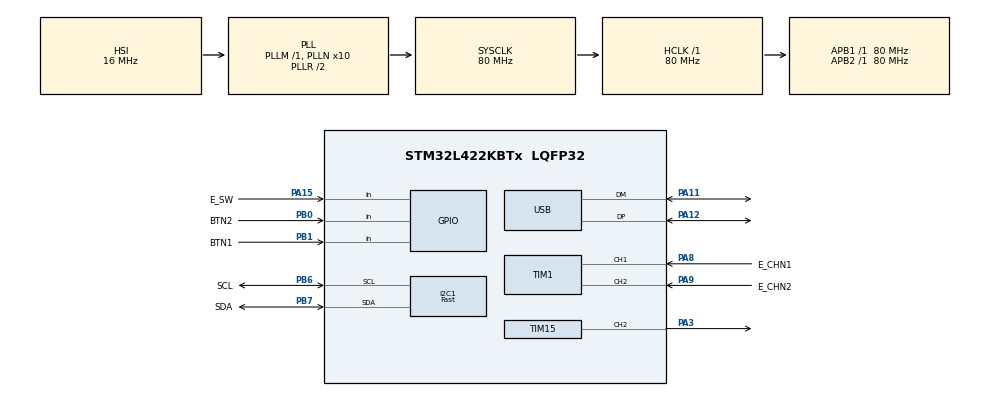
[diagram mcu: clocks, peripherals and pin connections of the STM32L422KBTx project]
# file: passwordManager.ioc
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I2C1.I2C_Speed_Mode=I2C_Fast
I2C1.Timing=0x00702991
Mcu.Family=STM32L4
Mcu.Name=STM32L422KBTx
Mcu.Package=LQFP32
NVIC.PriorityGroup=NVIC_PRIORITYGROUP_4
NVIC.TIM1_UP_TIM16_IRQn=true\:0\:0\:false\:false\:true\:true\:true\:true
NVIC.USB_IRQn=true\:0\:0\:false\:false\:true\:false\:true\:true
PA11.Mode=Device
PA11.Signal=USB_DM
PA12.Mode=Device
PA12.Signal=USB_DP
PA13\ (JTMS/SWDIO).Mode=Trace_Asynchronous_SW
PA13\ (JTMS/SWDIO).Signal=SYS_JTMS-SWDIO
PA14\ (JTCK/SWCLK).Mode=Trace_Asynchronous_SW
PA14\ (JTCK/SWCLK).Signal=SYS_JTCK-SWCLK
PA15\ (JTDI).GPIO_Label=E_SW
PA15\ (JTDI).Signal=GPIO_Input
PA3.Signal=S_TIM15_CH2
PA8.GPIO_Label=E_CHN1
PA8.Signal=S_TIM1_CH1
PA9.GPIO_Label=E_CHN2
PA9.Signal=S_TIM1_CH2
PB0.GPIO_Label=BTN2
PB0.Signal=GPIO_Input
PB1.GPIO_Label=BTN1
PB1.Signal=GPIO_Input
PB3\ (JTDO/TRACESWO).Mode=Trace_Asynchronous_SW
PB3\ (JTDO/TRACESWO).Signal=SYS_JTDO-SWO
PB6.GPIO_Label=SCL
PB6.Mode=I2C
PB6.Signal=I2C1_SCL
PB7.GPIO_Label=SDA
PB7.Mode=I2C
PB7.Signal=I2C1_SDA
ProjectManager.HeapSize=0x200
ProjectManager.StackSize=0x400
ProjectManager.TargetToolchain=Makefile
RCC.ADCFreq_Value=80000000
RCC.AHBFreq_Value=80000000
RCC.APB1Freq_Value=80000000
RCC.APB1TimFreq_Value=80000000
RCC.APB2Freq_Value=80000000
RCC.APB2TimFreq_Value=80000000
RCC.CortexFreq_Value=80000000
RCC.HCLKFreq_Value=80000000
RCC.HSE_VALUE=8000000
RCC.HSI48_VALUE=48000000
RCC.HSI_VALUE=16000000
RCC.LSE_VALUE=32768
RCC.MSIClockRange=RCC_MSIRANGE_11
RCC.MSI_VALUE=48000000
RCC.PLLN=10
RCC.PLLSourceVirtual=RCC_PLLSOURCE_HSI
RCC.SYSCLKFreq_VALUE=80000000
RCC.SYSCLKSource=RCC_SYSCLKSOURCE_PLLCLK
RCC.USBFreq_Value=48000000
RCC.VCOOutputFreq_Value=160000000
SH.S_TIM15_CH2.0=TIM15_CH2,PWM Generation2 CH2
SH.S_TIM1_CH1.0=TIM1_CH1,Encoder_Interface
SH.S_TIM1_CH2.0=TIM1_CH2,Encoder_Interface
TIM1.ClockDivision=TIM_CLOCKDIVISION_DIV1
TIM1.EncoderMode=TIM_ENCODERMODE_TI12
TIM1.IC1Filter=15
TIM1.IC1Polarity=TIM_ICPOLARITY_FALLING
TIM1.IC1Prescaler=TIM_ICPSC_DIV1
TIM1.IC2Filter=15
TIM1.IC2Polarity=TIM_ICPOLARITY_FALLING
TIM1.IC2Prescaler=TIM_ICPSC_DIV1
TIM15.AutoReloadPreload=TIM_AUTORELOAD_PRELOAD_ENABLE
TIM15.Channel-PWM\ Generation2\ CH2=TIM_CHANNEL_2
TIM16.AutoReloadPreload=TIM_AUTORELOAD_PRELOAD_DISABLE
TIM16.Period=64000-1
TIM16.Prescaler=40000
USB_DEVICE.CLASS_NAME_FS=HID
USB_DEVICE.PRODUCT_STRING_HID_FS=Password Manager
USB_DEVICE.VirtualMode=Hid
USB_DEVICE.VirtualModeFS=Hid_FS
VP_RNG_VS_RNG.Mode=RNG_Activate
VP_TIM15_VS_ClockSourceINT.Mode=Internal
VP_TIM16_VS_ClockSourceINT.Mode=Enable_Timer
VP_USB_DEVICE_VS_USB_DEVICE_HID_FS.Mode=HID_FS
board=custom

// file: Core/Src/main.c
/* USER CODE BEGIN Header */
/**
 ******************************************************************************
 * @file           : main.c
 * @brief          : Main program body
 ******************************************************************************
 * @attention
 *
 * Copyright (c) 2023 STMicroelectronics.
 * All rights reserved.
 *
 * This software is licensed under terms that can be found in the LICENSE file
 * in the root directory of this software component.
 * If no LICENSE file comes with this software, it is provided AS-IS.
 *
 ******************************************************************************
 */
/* USER CODE END Header */
#include "main.h"
#include "led.h"
#include "stm32l4xx_hal_flash.h"
#include "stm32l4xx_hal_rng.h"
#include "usb_device.h"

/* USER CODE BEGIN Includes */
#include <stdlib.h>
#include "ssd1306.h"
#include "pin.h"
#include "menu.h"
/* USER CODE END Includes */

I2C_HandleTypeDef hi2c1;

RNG_HandleTypeDef hrng;

TIM_HandleTypeDef htim1;
TIM_HandleTypeDef htim15;
TIM_HandleTypeDef htim16;

void        SystemClock_Config(void);
static void MX_GPIO_Init(void);
static void MX_I2C1_Init(void);
static void MX_RNG_Init(void);
static void MX_TIM1_Init(void);
static void MX_TIM15_Init(void);
static void MX_TIM16_Init(void);

int main(void)
{

    /* MCU
     * Configuration--------------------------------------------------------*/

    /* Reset of all peripherals, Initializes the Flash interface and the
     * Systick. */
    HAL_Init();

    /* Configure the system clock */
    SystemClock_Config();

    /* Initialize all configured peripherals */
    MX_GPIO_Init();
    MX_I2C1_Init();
    MX_RNG_Init();
    MX_USB_DEVICE_Init();
    MX_TIM1_Init();
    MX_TIM15_Init();
    MX_TIM16_Init();
    /* USER CODE BEGIN 2 */

    HAL_TIM_Encoder_Start(&htim1, TIM_CHANNEL_ALL); // encoder: TIM1->CNT
    HAL_TIM_PWM_Start(&htim15, TIM_CHANNEL_2);      // green led: TIM15->CCR2
    HAL_TIM_Base_Start_IT(&htim16);
    ssd1306_Init(); // initialize the display
    LED_Off();

    /* USER CODE END 2 */

    /* Infinite loop */
    /* USER CODE BEGIN WHILE */
    while (1) {
        MainMenu_Loop();
        /* USER CODE END WHILE */

    }
}

void SystemClock_Config(void)
{
    RCC_OscInitTypeDef RCC_OscInitStruct = {0};
    RCC_ClkInitTypeDef RCC_ClkInitStruct = {0};

    /** Configure the main internal regulator output voltage
     */
    if (HAL_PWREx_ControlVoltageScaling(PWR_REGULATOR_VOLTAGE_SCALE1) != HAL_OK) {
        Error_Handler();
    }

    /** Initializes the RCC Oscillators according to the specified parameters
     * in the RCC_OscInitTypeDef structure.
     */
    RCC_OscInitStruct.OscillatorType      = RCC_OSCILLATORTYPE_HSI | RCC_OSCILLATORTYPE_MSI;
    RCC_OscInitStruct.HSIState            = RCC_HSI_ON;
    RCC_OscInitStruct.HSICalibrationValue = RCC_HSICALIBRATION_DEFAULT;
    RCC_OscInitStruct.MSIState            = RCC_MSI_ON;
    RCC_OscInitStruct.MSICalibrationValue = 0;
    RCC_OscInitStruct.MSIClockRange       = RCC_MSIRANGE_11;
    RCC_OscInitStruct.PLL.PLLState        = RCC_PLL_ON;
    RCC_OscInitStruct.PLL.PLLSource       = RCC_PLLSOURCE_HSI;
    RCC_OscInitStruct.PLL.PLLM            = 1;
    RCC_OscInitStruct.PLL.PLLN            = 10;
    RCC_OscInitStruct.PLL.PLLQ            = RCC_PLLQ_DIV2;
    RCC_OscInitStruct.PLL.PLLR            = RCC_PLLR_DIV2;
    if (HAL_RCC_OscConfig(&RCC_OscInitStruct) != HAL_OK) {
        Error_Handler();
    }

    /** Initializes the CPU, AHB and APB buses clocks
     */
    RCC_ClkInitStruct.ClockType      = RCC_CLOCKTYPE_HCLK | RCC_CLOCKTYPE_SYSCLK | RCC_CLOCKTYPE_PCLK1 | RCC_CLOCKTYPE_PCLK2;
    RCC_ClkInitStruct.SYSCLKSource   = RCC_SYSCLKSOURCE_PLLCLK;
    RCC_ClkInitStruct.AHBCLKDivider  = RCC_SYSCLK_DIV1;
    RCC_ClkInitStruct.APB1CLKDivider = RCC_HCLK_DIV1;
    RCC_ClkInitStruct.APB2CLKDivider = RCC_HCLK_DIV1;

    if (HAL_RCC_ClockConfig(&RCC_ClkInitStruct, FLASH_LATENCY_4) != HAL_OK) {
        Error_Handler();
    }
}

static void MX_I2C1_Init(void)
{

    hi2c1.Instance              = I2C1;
    hi2c1.Init.Timing           = 0x00702991;
    hi2c1.Init.OwnAddress1      = 0;
    hi2c1.Init.AddressingMode   = I2C_ADDRESSINGMODE_7BIT;
    hi2c1.Init.DualAddressMode  = I2C_DUALADDRESS_DISABLE;
    hi2c1.Init.OwnAddress2      = 0;
    hi2c1.Init.OwnAddress2Masks = I2C_OA2_NOMASK;
    hi2c1.Init.GeneralCallMode  = I2C_GENERALCALL_DISABLE;
    hi2c1.Init.NoStretchMode    = I2C_NOSTRETCH_DISABLE;
    if (HAL_I2C_Init(&hi2c1) != HAL_OK) {
        Error_Handler();
    }

    /** Configure Analogue filter
     */
    if (HAL_I2CEx_ConfigAnalogFilter(&hi2c1, I2C_ANALOGFILTER_ENABLE) != HAL_OK) {
        Error_Handler();
    }

    /** Configure Digital filter
     */
    if (HAL_I2CEx_ConfigDigitalFilter(&hi2c1, 0) != HAL_OK) {
        Error_Handler();
    }
}

static void MX_RNG_Init(void)
{

    hrng.Instance = RNG;
    if (HAL_RNG_Init(&hrng) != HAL_OK) {
        Error_Handler();
    }
}

static void MX_TIM1_Init(void)
{

    TIM_Encoder_InitTypeDef sConfig       = {0};
    TIM_MasterConfigTypeDef sMasterConfig = {0};

    htim1.Instance               = TIM1;
    htim1.Init.Prescaler         = 0;
    htim1.Init.CounterMode       = TIM_COUNTERMODE_UP;
    htim1.Init.Period            = 65535;
    htim1.Init.ClockDivision     = TIM_CLOCKDIVISION_DIV1;
    htim1.Init.RepetitionCounter = 0;
    htim1.Init.AutoReloadPreload = TIM_AUTORELOAD_PRELOAD_DISABLE;
    sConfig.EncoderMode          = TIM_ENCODERMODE_TI12;
    sConfig.IC1Polarity          = TIM_ICPOLARITY_FALLING;
    sConfig.IC1Selection         = TIM_ICSELECTION_DIRECTTI;
    sConfig.IC1Prescaler         = TIM_ICPSC_DIV1;
    sConfig.IC1Filter            = 15;
    sConfig.IC2Polarity          = TIM_ICPOLARITY_FALLING;
    sConfig.IC2Selection         = TIM_ICSELECTION_DIRECTTI;
    sConfig.IC2Prescaler         = TIM_ICPSC_DIV1;
    sConfig.IC2Filter            = 15;
    if (HAL_TIM_Encoder_Init(&htim1, &sConfig) != HAL_OK) {
        Error_Handler();
    }
    sMasterConfig.MasterOutputTrigger  = TIM_TRGO_RESET;
    sMasterConfig.MasterOutputTrigger2 = TIM_TRGO2_RESET;
    sMasterConfig.MasterSlaveMode      = TIM_MASTERSLAVEMODE_DISABLE;
    if (HAL_TIMEx_MasterConfigSynchronization(&htim1, &sMasterConfig) != HAL_OK) {
        Error_Handler();
    }
}

static void MX_TIM15_Init(void)
{

    TIM_ClockConfigTypeDef         sClockSourceConfig   = {0};
    TIM_MasterConfigTypeDef        sMasterConfig        = {0};
    TIM_OC_InitTypeDef             sConfigOC            = {0};
    TIM_BreakDeadTimeConfigTypeDef sBreakDeadTimeConfig = {0};

    htim15.Instance               = TIM15;
    htim15.Init.Prescaler         = 0;
    htim15.Init.CounterMode       = TIM_COUNTERMODE_UP;
    htim15.Init.Period            = 65535;
    htim15.Init.ClockDivision     = TIM_CLOCKDIVISION_DIV1;
    htim15.Init.RepetitionCounter = 0;
    htim15.Init.AutoReloadPreload = TIM_AUTORELOAD_PRELOAD_ENABLE;
    if (HAL_TIM_Base_Init(&htim15) != HAL_OK) {
        Error_Handler();
    }
    sClockSourceConfig.ClockSource = TIM_CLOCKSOURCE_INTERNAL;
    if (HAL_TIM_ConfigClockSource(&htim15, &sClockSourceConfig) != HAL_OK) {
        Error_Handler();
    }
    if (HAL_TIM_PWM_Init(&htim15) != HAL_OK) {
        Error_Handler();
    }
    sMasterConfig.MasterOutputTrigger = TIM_TRGO_RESET;
    sMasterConfig.MasterSlaveMode     = TIM_MASTERSLAVEMODE_DISABLE;
    if (HAL_TIMEx_MasterConfigSynchronization(&htim15, &sMasterConfig) != HAL_OK) {
        Error_Handler();
    }
    sConfigOC.OCMode       = TIM_OCMODE_PWM1;
    sConfigOC.Pulse        = 0;
    sConfigOC.OCPolarity   = TIM_OCPOLARITY_HIGH;
    sConfigOC.OCNPolarity  = TIM_OCNPOLARITY_HIGH;
    sConfigOC.OCFastMode   = TIM_OCFAST_DISABLE;
    sConfigOC.OCIdleState  = TIM_OCIDLESTATE_RESET;
    sConfigOC.OCNIdleState = TIM_OCNIDLESTATE_RESET;
    if (HAL_TIM_PWM_ConfigChannel(&htim15, &sConfigOC, TIM_CHANNEL_2) != HAL_OK) {
        Error_Handler();
    }
    sBreakDeadTimeConfig.OffStateRunMode  = TIM_OSSR_DISABLE;
    sBreakDeadTimeConfig.OffStateIDLEMode = TIM_OSSI_DISABLE;
    sBreakDeadTimeConfig.LockLevel        = TIM_LOCKLEVEL_OFF;
    sBreakDeadTimeConfig.DeadTime         = 0;
    sBreakDeadTimeConfig.BreakState       = TIM_BREAK_DISABLE;
    sBreakDeadTimeConfig.BreakPolarity    = TIM_BREAKPOLARITY_HIGH;
    sBreakDeadTimeConfig.AutomaticOutput  = TIM_AUTOMATICOUTPUT_DISABLE;
    if (HAL_TIMEx_ConfigBreakDeadTime(&htim15, &sBreakDeadTimeConfig) != HAL_OK) {
        Error_Handler();
    }
    HAL_TIM_MspPostInit(&htim15);
}

static void MX_TIM16_Init(void)
{

    htim16.Instance               = TIM16;
    htim16.Init.Prescaler         = 40000;
    htim16.Init.CounterMode       = TIM_COUNTERMODE_UP;
    htim16.Init.Period            = 64000 - 1;
    htim16.Init.ClockDivision     = TIM_CLOCKDIVISION_DIV1;
    htim16.Init.RepetitionCounter = 0;
    htim16.Init.AutoReloadPreload = TIM_AUTORELOAD_PRELOAD_DISABLE;
    if (HAL_TIM_Base_Init(&htim16) != HAL_OK) {
        Error_Handler();
    }
}

static void MX_GPIO_Init(void)
{
    GPIO_InitTypeDef GPIO_InitStruct = {0};

    /* GPIO Ports Clock Enable */
    __HAL_RCC_GPIOA_CLK_ENABLE();
    __HAL_RCC_GPIOB_CLK_ENABLE();

    /*Configure GPIO pins : BTN2_Pin BTN1_Pin */
    GPIO_InitStruct.Pin  = BTN2_Pin | BTN1_Pin;
    GPIO_InitStruct.Mode = GPIO_MODE_INPUT;
    GPIO_InitStruct.Pull = GPIO_NOPULL;
    HAL_GPIO_Init(GPIOB, &GPIO_InitStruct);

    /*Configure GPIO pin : E_SW_Pin */
    GPIO_InitStruct.Pin  = E_SW_Pin;
    GPIO_InitStruct.Mode = GPIO_MODE_INPUT;
    GPIO_InitStruct.Pull = GPIO_NOPULL;
    HAL_GPIO_Init(E_SW_GPIO_Port, &GPIO_InitStruct);

}

/* USER CODE BEGIN 4 */

void HAL_TIM_PeriodElapsedCallback(TIM_HandleTypeDef *htim)
{
    if (htim == &htim16) { // lock after 32s
        lock();
    }
}

/* USER CODE END 4 */

void Error_Handler(void)
{
    /* USER CODE BEGIN Error_Handler_Debug */
    /* User can add his own implementation to report the HAL error return state
     */
    __disable_irq();
    while (1) {
    }
    /* USER CODE END Error_Handler_Debug */
}

#ifdef USE_FULL_ASSERT
/**
 * @brief  Reports the name of the source file and the source line number
 *         where the assert_param error has occurred.
 * @param  file: pointer to the source file name
 * @param  line: assert_param error line source number
 * @retval None
 */
void assert_failed(uint8_t *file, uint32_t line)
{
    /* USER CODE BEGIN 6 */
    /* User can add his own implementation to report the file name and line
       number,
       //ex: printf("Wrong parameters value: file %s on line %d\r\n", file, line) */
    /* USER CODE END 6 */
}
#endif /* USE_FULL_ASSERT */
